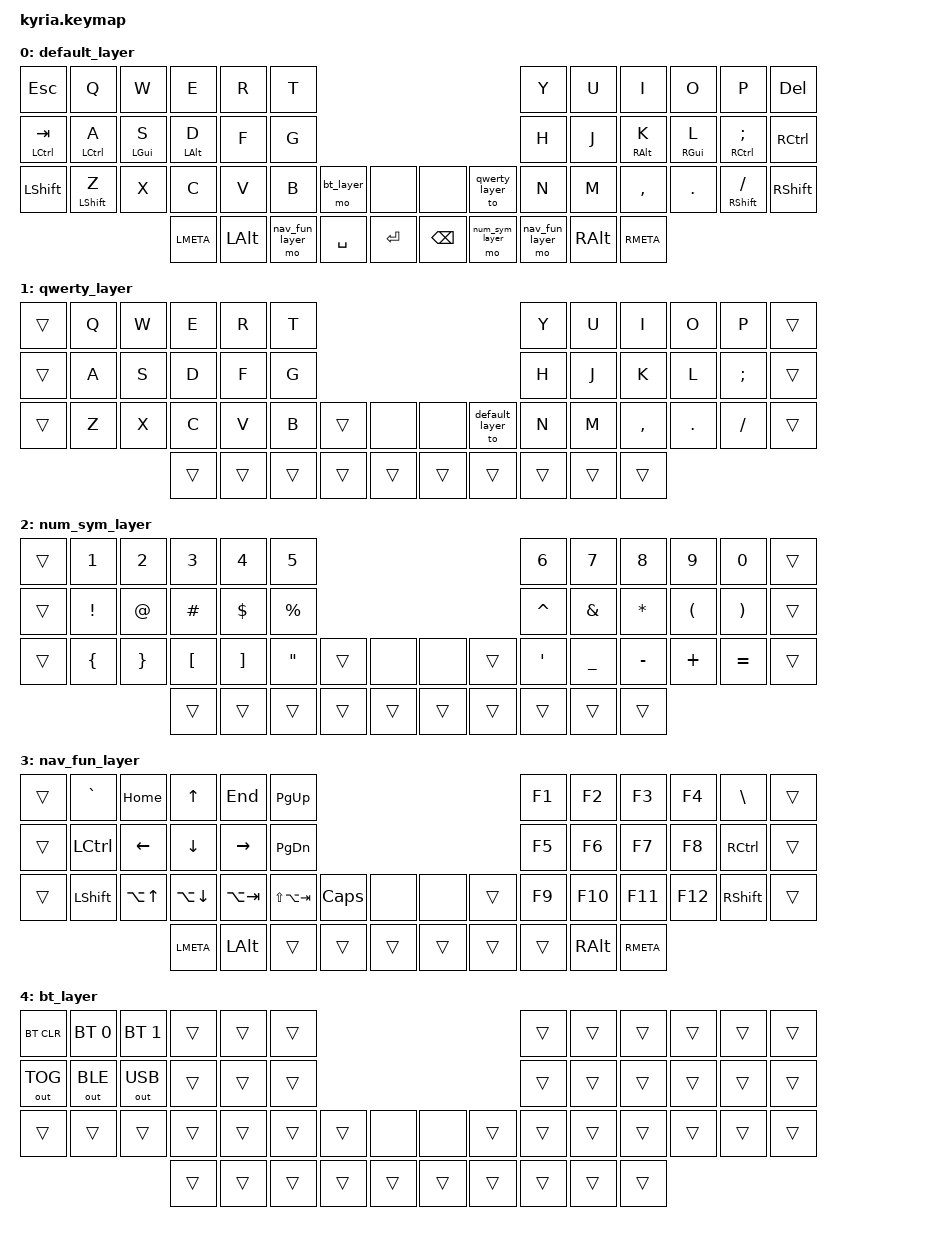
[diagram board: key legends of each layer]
/*
 * Copyright (c) 2020 The ZMK Contributors
 *
 * SPDX-License-Identifier: MIT
 */

#include <behaviors.dtsi>
#include <dt-bindings/zmk/keys.h>
#include <dt-bindings/zmk/bt.h>
#include <dt-bindings/zmk/outputs.h>

#define default_layer 0
#define _DEFAULT &to default_layer

#define qwerty_layer 1
#define _QWERTY &to qwerty_layer

#define num_sym_layer 2
#define _NUMSYS  &mo num_sym_layer

#define nav_fun_layer 3
#define _NAVFUN  &mo nav_fun_layer

#define bt_layer 4
#define _BTOOTH  &mo bt_layer 

#define ______   &trans
#define _NWIN    &kp LA(TAB)
#define _PWIN    &kp LS(LA(TAB))
#define _LR_DN   &kp LA(DOWN)
#define _LR_UP   &kp LA(UP)

#define CTL_TAB  &mt LCTRL TAB
#define _LCTL    &kp LCTRL
#define _LSFT    &kp LSHFT
#define _LMET    &kp LMETA
#define _SPAC    &kp SPACE
#define _LALT    &kp LALT
#define _RALT    &kp RALT
#define _BSPC    &kp BSPC
#define _RMET    &kp RMETA
#define _COMMA   &kp COMMA
#define _RSFT    &kp RSHFT
#define _ENT     &kp ENTER
#define _RCTL    &kp RCTRL

#define _GRAVE   &kp GRAVE
#define _PRCNT   &kp PRCNT 
#define _CARET   &kp CARET
#define _EQUAL   &kp EQUAL
#define _MINUS   &kp MINUS
#define _UNDER   &kp UNDER

#define _LEFT    &kp LEFT
#define _DOWN    &kp DOWN
#define _UP      &kp UP
#define _RGHT    &kp RIGHT
#define _HOME    &kp HOME
#define _END     &kp END
#define _PGDN    &kp PG_DN
#define _PGUP    &kp PG_UP

#define _BT1     &bt BT_SEL 0
#define _BT2     &bt BT_SEL 1
#define _BTCLR   &bt BT_CLR

#define _OUTTOG &out OUT_TOG
#define _OUTUSB &out OUT_USB
#define _OUTBLE &out OUT_BLE

/ {
	behaviors {
        hm: homerow_mods {
            compatible = "zmk,behavior-hold-tap";
            label = "HOMEROW_MODS";
            #binding-cells = <2>;
            tapping-term-ms = <180>;
            flavor = "balanced";
	    quick-tap-ms = <0>;
            bindings = <&kp>, <&kp>;
        };
    };

    combos {
        compatible = "zmk,combos";
        combo_esc {
            timeout-ms = <50>;
            key-positions = <1 2>;
            bindings = <&kp ESC>;
        };
		combo_tab {
			timeout-ms = <50>;
			key-positions = <27 28>;
			bindings = <&kp TAB>;
		};
		combo_enter {
			timeout-ms = <50>;
			key-positions = <35 36>;
			bindings = <&kp ENTER>;
		};
		combo_backspace {
			timeout-ms = <50>;
			key-positions = <37 38>;
			bindings = <&kp BSPC>;
		};
    };

	keymap {
		compatible = "zmk,keymap";

		default_layer {
// ------------------------------------------------------------------------------------------------------------------------------------------------
//  |  ESC   |  Q     |  W     |  E     |  R     |  T     |                                   |  Y     |  U     |  I     |  O     |   P    | Enter |
//  | TAB/CTL|  A     |  S     |  D     |  F     |  G     |                                   |  H     |  J     |  K     |  L     |   :    | ctrl  |
//  | SHIFT  |  Z     |  X     |  C     |  V     |  B     |  bt    |  ----  |  ----  |colemak |  N     |  M     |  ,     |  .     |   /    | shft  |
//                             |  meta  |  alt   |  nav   | space  | Enter  | qwermod|  num   | nav    |  alt   |  meta  |
// ------------------------------------------------------------------------------------------------------------------------------------------------
			bindings = <
	&kp ESC  &kp Q       &kp W      &kp E       &kp R       &kp T                                        &kp Y    &kp U       &kp I       &kp O      &kp P          &kp DEL
	CTL_TAB  &hm LCTRL A &hm LGUI S &hm LALT D  &kp F       &kp G                                        &kp H    &kp J       &hm RALT K  &hm RGUI L &hm RCTRL SEMI _RCTL
	_LSFT    &hm LSHFT Z &kp X      &kp C       &kp V       &kp B    _BTOOTH  &none    &none    _QWERTY  &kp N    &kp M       _COMMA      &kp DOT    &hm RSHFT FSLH _RSFT
							        _LMET       _LALT       _NAVFUN  _SPAC    _ENT     _BSPC    _NUMSYS  _NAVFUN  _RALT       _RMET
			>;
		};

		qwerty_layer {
// ------------------------------------------------------------------------------------------------------------------------------------------------
//  | ______ |  Q     |  W     |  E     |  R     |  T     |                                   |  Y     |  U     |  I     |  O     |   P    | Enter |
//  | ______ |  A     |  S     |  D     |  F     |  G     |                                   |  H     |  J     |  K     |  L     |   :    | ctrl  |
//  | ______ |  Z     |  X     |  C     |  V     |  B     | ______ |  ----  |  ----  | ______ |  N     |  M     |  ,     |  .     |   /    | shft  |
//                             | ______ | ______ | ______ | ______ | ______ | ______ | ______ | ______ | ______ | ______ |
// ------------------------------------------------------------------------------------------------------------------------------------------------
			bindings = <
	______   &kp Q    &kp W    &kp E    &kp R    &kp T                                        &kp Y    &kp U    &kp I    &kp O    &kp P     ______
	______   &kp A    &kp S    &kp D    &kp F    &kp G                                        &kp H    &kp J    &kp K    &kp L    &kp SEMI  ______
	______   &kp Z    &kp X    &kp C    &kp V    &kp B    ______   &none    &none    _DEFAULT &kp N    &kp M    _COMMA   &kp DOT  &kp FSLH  ______
							   ______   ______   ______   ______   ______   ______   ______   ______   ______   ______
			>;
		};

		num_sym_layer {
			bindings = <
	______   &kp N1   &kp N2   &kp N3   &kp N4   &kp N5                                       &kp N6   &kp N7   &kp N8   &kp N9   &kp N0   ______
	______   &kp EXCL &kp AT   &kp HASH &kp DLLR _PRCNT                                       _CARET   &kp AMPS &kp STAR &kp LPAR &kp RPAR ______  
	______   &kp LBRC &kp RBRC &kp LBKT &kp RBKT &kp DQT  ______   &none    &none    ______   &kp SQT  _UNDER   _MINUS   &kp PLUS _EQUAL   ______
							   ______   ______   ______   ______   ______   ______   ______   ______   ______   ______ 
			>;
		};

		nav_fun_layer {
			bindings = <
	______   _GRAVE   _HOME    _UP      _END     _PGUP                                        &kp F1   &kp F2   &kp F3   &kp F4   &kp BSLH ______
	______   _LCTL    _LEFT    _DOWN    _RGHT    _PGDN                                        &kp F5   &kp F6   &kp F7   &kp F8   _RCTL    ______
	______   _LSFT    _LR_UP   _LR_DN   _NWIN    _PWIN    &kp CAPS &none    &none    ______   &kp F9   &kp F10  &kp F11  &kp F12  _RSFT    ______
				               _LMET    _LALT    ______   ______   ______   ______   ______   ______   _RALT    _RMET
			>;
		};

		bt_layer {
			bindings = <
	_BTCLR   _BT1     _BT2     ______   ______   ______                                       ______   ______   ______   ______   ______   ______
	_OUTTOG  _OUTBLE  _OUTUSB  ______   ______   ______                                       ______   ______   ______   ______   ______   ______
	______   ______   ______   ______   ______   ______   ______   &none    &none    ______   ______   ______   ______   ______   ______   ______
	                           ______   ______   ______   ______   ______   ______   ______   ______   ______   ______
			>;
		};
	};
};
